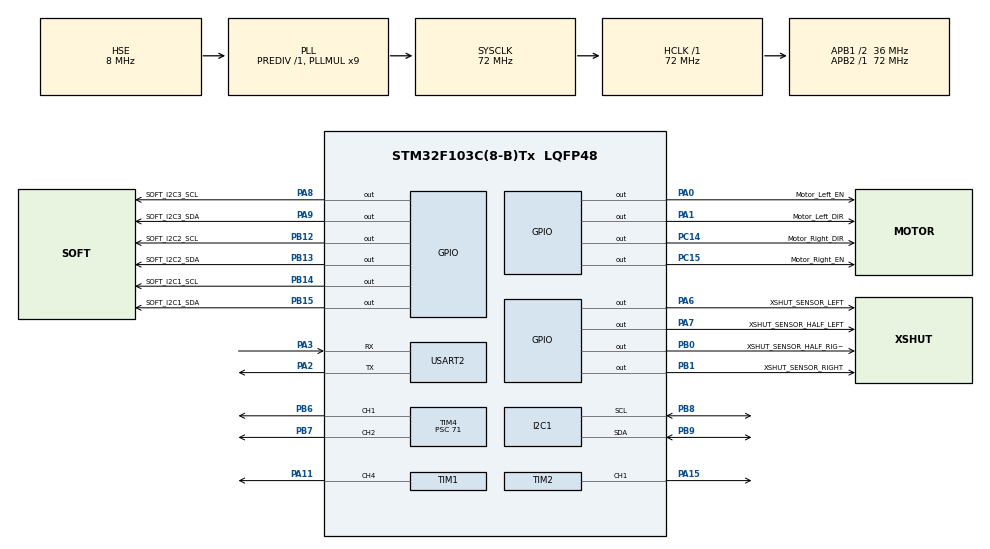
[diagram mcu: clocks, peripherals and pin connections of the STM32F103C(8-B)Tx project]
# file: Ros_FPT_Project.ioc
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Dma.Request0=USART2_TX
Dma.USART2_TX.0.Direction=DMA_MEMORY_TO_PERIPH
Dma.USART2_TX.0.Instance=DMA1_Channel7
Dma.USART2_TX.0.MemDataAlignment=DMA_MDATAALIGN_BYTE
Dma.USART2_TX.0.MemInc=DMA_MINC_ENABLE
Dma.USART2_TX.0.Mode=DMA_NORMAL
Dma.USART2_TX.0.PeriphDataAlignment=DMA_PDATAALIGN_BYTE
Dma.USART2_TX.0.PeriphInc=DMA_PINC_DISABLE
Dma.USART2_TX.0.Priority=DMA_PRIORITY_LOW
I2C1.I2C_Mode=I2C_Fast
Mcu.Family=STM32F1
Mcu.Name=STM32F103C(8-B)Tx
Mcu.Package=LQFP48
NVIC.DMA1_Channel7_IRQn=true\:3\:0\:true\:false\:true\:false\:true\:true
NVIC.PriorityGroup=NVIC_PRIORITYGROUP_4
NVIC.TIM3_IRQn=true\:2\:0\:true\:false\:true\:true\:true\:true
NVIC.USART2_IRQn=true\:1\:0\:true\:false\:true\:true\:true\:true
PA0-WKUP.GPIO_Label=Motor_Left_EN
PA0-WKUP.Signal=GPIO_Output
PA1.GPIO_Label=Motor_Left_DIR
PA1.Signal=GPIO_Output
PA11.Signal=S_TIM1_CH4
PA13.Mode=Serial_Wire
PA13.Signal=SYS_JTMS-SWDIO
PA14.Mode=Serial_Wire
PA14.Signal=SYS_JTCK-SWCLK
PA15.Signal=S_TIM2_CH1_ETR
PA2.Mode=Asynchronous
PA2.Signal=USART2_TX
PA3.Mode=Asynchronous
PA3.Signal=USART2_RX
PA6.GPIO_Label=XSHUT_SENSOR_LEFT
PA6.Signal=GPIO_Output
PA7.GPIO_Label=XSHUT_SENSOR_HALF_LEFT
PA7.Signal=GPIO_Output
PA8.GPIO_Label=SOFT_I2C3_SCL
PA8.GPIO_ModeDefaultOutputPP=GPIO_MODE_OUTPUT_OD
PA8.GPIO_PuPd=GPIO_PULLUP
PA8.GPIO_Speed=GPIO_SPEED_FREQ_HIGH
PA8.PinState=GPIO_PIN_RESET
PA8.Signal=GPIO_Output
PA9.GPIO_Label=SOFT_I2C3_SDA
PA9.GPIO_ModeDefaultOutputPP=GPIO_MODE_OUTPUT_OD
PA9.GPIO_PuPd=GPIO_PULLUP
PA9.GPIO_Speed=GPIO_SPEED_FREQ_HIGH
PA9.PinState=GPIO_PIN_RESET
PA9.Signal=GPIO_Output
PB0.GPIO_Label=XSHUT_SENSOR_HALF_RIGHT
PB0.Signal=GPIO_Output
PB1.GPIO_Label=XSHUT_SENSOR_RIGHT
PB1.Signal=GPIO_Output
PB12.GPIO_Label=SOFT_I2C2_SCL
PB12.GPIO_ModeDefaultOutputPP=GPIO_MODE_OUTPUT_OD
PB12.GPIO_PuPd=GPIO_PULLUP
PB12.GPIO_Speed=GPIO_SPEED_FREQ_HIGH
PB12.PinState=GPIO_PIN_SET
PB12.Signal=GPIO_Output
PB13.GPIO_Label=SOFT_I2C2_SDA
PB13.GPIO_ModeDefaultOutputPP=GPIO_MODE_OUTPUT_OD
PB13.GPIO_PuPd=GPIO_PULLUP
PB13.GPIO_Speed=GPIO_SPEED_FREQ_HIGH
PB13.PinState=GPIO_PIN_SET
PB13.Signal=GPIO_Output
PB14.GPIO_Label=SOFT_I2C1_SCL
PB14.GPIO_ModeDefaultOutputPP=GPIO_MODE_OUTPUT_OD
PB14.GPIO_PuPd=GPIO_PULLUP
PB14.GPIO_Speed=GPIO_SPEED_FREQ_HIGH
PB14.PinState=GPIO_PIN_SET
PB14.Signal=GPIO_Output
PB15.GPIO_Label=SOFT_I2C1_SDA
PB15.GPIO_ModeDefaultOutputPP=GPIO_MODE_OUTPUT_OD
PB15.GPIO_PuPd=GPIO_PULLUP
PB15.GPIO_Speed=GPIO_SPEED_FREQ_HIGH
PB15.PinState=GPIO_PIN_SET
PB15.Signal=GPIO_Output
PB6.Signal=S_TIM4_CH1
PB7.Signal=S_TIM4_CH2
PB8.Mode=I2C
PB8.Signal=I2C1_SCL
PB9.Mode=I2C
PB9.Signal=I2C1_SDA
PC14-OSC32_IN.GPIO_Label=Motor_Right_DIR
PC14-OSC32_IN.Signal=GPIO_Output
PC15-OSC32_OUT.GPIO_Label=Motor_Right_EN
PC15-OSC32_OUT.Signal=GPIO_Output
PD0-OSC_IN.Mode=HSE-External-Oscillator
PD0-OSC_IN.Signal=RCC_OSC_IN
PD1-OSC_OUT.Mode=HSE-External-Oscillator
PD1-OSC_OUT.Signal=RCC_OSC_OUT
ProjectManager.HeapSize=0x200
ProjectManager.StackSize=0x400
ProjectManager.TargetToolchain=MDK-ARM V5.32
RCC.AHBFreq_Value=72000000
RCC.APB1CLKDivider=RCC_HCLK_DIV2
RCC.APB1Freq_Value=36000000
RCC.APB1TimFreq_Value=72000000
RCC.APB2Freq_Value=72000000
RCC.APB2TimFreq_Value=72000000
RCC.HCLKFreq_Value=72000000
RCC.PLLMUL=RCC_PLL_MUL9
RCC.PLLSourceVirtual=RCC_PLLSOURCE_HSE
RCC.SYSCLKFreq_VALUE=72000000
RCC.SYSCLKSource=RCC_SYSCLKSOURCE_PLLCLK
RCC.USBFreq_Value=72000000
SH.S_TIM1_CH4.0=TIM1_CH4,PWM Generation4 CH4
SH.S_TIM2_CH1_ETR.0=TIM2_CH1,PWM Generation1 CH1
SH.S_TIM4_CH1.0=TIM4_CH1,PWM Generation1 CH1
SH.S_TIM4_CH2.0=TIM4_CH2,PWM Generation2 CH2
TIM1.AutoReloadPreload=TIM_AUTORELOAD_PRELOAD_ENABLE
TIM1.Channel-PWM\ Generation4\ CH4=TIM_CHANNEL_4
TIM1.Prescaler=71
TIM2.AutoReloadPreload=TIM_AUTORELOAD_PRELOAD_ENABLE
TIM2.Channel-PWM\ Generation1\ CH1=TIM_CHANNEL_1
TIM2.Period=65535
TIM2.Prescaler=71
TIM3.Period=3999
TIM3.Prescaler=719
TIM4.Channel-PWM\ Generation1\ CH1=TIM_CHANNEL_1
TIM4.Channel-PWM\ Generation2\ CH2=TIM_CHANNEL_2
TIM4.Prescaler=71
USART2.VirtualMode=VM_ASYNC
VP_TIM3_VS_ClockSourceINT.Mode=Internal
board=custom

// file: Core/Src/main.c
/* USER CODE BEGIN Header */
/**
  ******************************************************************************
  * @file           : main.c
  * @brief          : Main program body
  ******************************************************************************
  * @attention
  *
  * Copyright (c) 2025 STMicroelectronics.
  * All rights reserved.
  *
  * This software is licensed under terms that can be found in the LICENSE file
  * in the root directory of this software component.
  * If no LICENSE file comes with this software, it is provided AS-IS.
  *
  ******************************************************************************
  */
/* USER CODE END Header */
#include "main.h"

/* USER CODE BEGIN Includes */
#include "vl53l0x.h"
#include "i2c.h"
#include "mpu6050.h"
#include "uart.h"
#include <stdarg.h>
#include <string.h>
#include <stdio.h>
#include <math.h>
/* USER CODE END Includes */

/* USER CODE BEGIN PD */
#define BUFFER_MESSAGE_SIZE 100
/* USER CODE END PD */

I2C_HandleTypeDef hi2c1;

TIM_HandleTypeDef htim1;
TIM_HandleTypeDef htim2;
TIM_HandleTypeDef htim3;
TIM_HandleTypeDef htim4;

UART_HandleTypeDef huart2;
DMA_HandleTypeDef hdma_usart2_tx;

/* USER CODE BEGIN PV */
Robot_Typedef robot;

StepperMotor motor_left;
StepperMotor motor_right;

AS5600_Typedef encoder_left;
AS5600_Typedef encoder_right;

Soft_I2C_TypeDef soft_i2c_distance;
Soft_I2C_TypeDef soft_i2c_encoder_left;
Soft_I2C_TypeDef soft_i2c_encoder_right;

VL53L0X_TypeDef sensor_left;
VL53L0X_TypeDef sensor_half_left;
VL53L0X_TypeDef sensor_half_right;
VL53L0X_TypeDef sensor_right;

Servo_TypeDef servo1;
Servo_TypeDef servo2;

MPU6050_t mpu;

/* USER CODE END PV */

void SystemClock_Config(void);
static void MX_GPIO_Init(void);
static void MX_DMA_Init(void);
static void MX_I2C1_Init(void);
static void MX_TIM2_Init(void);
static void MX_TIM3_Init(void);
static void MX_TIM4_Init(void);
static void MX_USART2_UART_Init(void);
static void MX_TIM1_Init(void);

/* USER CODE BEGIN 0 */
uint8_t data_rx;
uint8_t flag_error;
char buffer[BUFFER_MESSAGE_SIZE];
static uint8_t idx = 0;

HAL_StatusTypeDef transmit(const char *format, ...)
{
	va_list args;
	va_start(args, format);
	vsnprintf(buffer, BUFFER_MESSAGE_SIZE, format, args);
	va_end(args);
	return HAL_UART_Transmit_DMA(&huart2, (uint8_t *)buffer, strlen(buffer));
}

void HAL_UART_RxCpltCallback(UART_HandleTypeDef* huart){
	if(huart->Instance == huart2.Instance){
		uart_receive_data(data_rx);
		uart_handle(&robot);
		HAL_UART_Receive_IT(huart, &data_rx, 1);
	}
}

void HAL_TIM_PeriodElapsedCallback(TIM_HandleTypeDef* htim){
	if(htim->Instance == htim3.Instance){
		if(MPU6050_Read_All_Fast(&mpu) != MPU6050_OK){
			flag_error = 10;
			transmit("Get data from MPU6050 error!\n");
		}
		Calculate_Velocity(&robot);
		transmit("%.3f %.3f %.3f %.3f %.3f %.3f %.3f %.3f %.3f %.3f %.3f %.3f\n", robot.v_left, robot.v_right, mpu.Ax, mpu.Ay, mpu.Az, mpu.Gx, mpu.Gy, mpu.Gz,
		sensor_left.distance_m, sensor_half_left.distance_m, sensor_half_right.distance_m, sensor_right.distance_m);
	}
}

/* USER CODE END 0 */

int main(void)
{

  /* MCU Configuration--------------------------------------------------------*/

  /* Reset of all peripherals, Initializes the Flash interface and the Systick. */
  HAL_Init();

  /* Configure the system clock */
  SystemClock_Config();

  /* Initialize all configured peripherals */
  MX_GPIO_Init();
  MX_DMA_Init();
  MX_I2C1_Init();
  MX_TIM2_Init();
  MX_TIM3_Init();
  MX_TIM4_Init();
  MX_USART2_UART_Init();
  MX_TIM1_Init();
  /* USER CODE BEGIN 2 */

	// Init MPU6050
	while(MPU6050_Init(&mpu, &hi2c1) != MPU6050_OK){
		flag_error = 1;
		transmit("MPU6050 Init Fail\n");
		HAL_Delay(1000);
	}
	flag_error = 0;
	if(MPU6050_Read_All_Fast(&mpu) != MPU6050_OK){
		flag_error = 2;
		transmit("MPU6050 Get Data Error\n");
		Error_Handler();
	}
	// Init I2C Soft
	i2c_soft_init(&soft_i2c_distance, SOFT_I2C1_SCL_GPIO_Port, SOFT_I2C1_SCL_Pin, SOFT_I2C1_SDA_GPIO_Port, SOFT_I2C1_SDA_Pin);
	i2c_soft_init(&soft_i2c_encoder_left, SOFT_I2C2_SCL_GPIO_Port, SOFT_I2C2_SCL_Pin, SOFT_I2C2_SDA_GPIO_Port, SOFT_I2C2_SDA_Pin);
	i2c_soft_init(&soft_i2c_encoder_right, SOFT_I2C3_SCL_GPIO_Port, SOFT_I2C3_SCL_Pin, SOFT_I2C3_SDA_GPIO_Port, SOFT_I2C3_SDA_Pin);

	// Init Distance Sensor VL53L0X
	if(!vl53l0x_init(&sensor_left, &soft_i2c_distance, XSHUT_SENSOR_LEFT_GPIO_Port, XSHUT_SENSOR_LEFT_Pin, LEFT, -30)){
		flag_error = 3;
		transmit("Distance Sensor Front Init Fail!\n");
		Error_Handler();
	}
	if(!vl53l0x_init(&sensor_half_left, &soft_i2c_distance, XSHUT_SENSOR_HALF_LEFT_GPIO_Port, XSHUT_SENSOR_HALF_LEFT_Pin, HALF_LEFT, 0)){
		flag_error = 4;
		transmit("Distance Sensor Behind Init Fail!\n");
		Error_Handler();
	}
	if(!vl53l0x_init(&sensor_half_right, &soft_i2c_distance, XSHUT_SENSOR_HALF_RIGHT_GPIO_Port, XSHUT_SENSOR_HALF_RIGHT_Pin, HALF_RIGHT, -20)){
		flag_error = 5;
		transmit("Distance Sensor Left Init Fail!\n");
		Error_Handler();
	}
	if(!vl53l0x_init(&sensor_right, &soft_i2c_distance, XSHUT_SENSOR_RIGHT_GPIO_Port, XSHUT_SENSOR_RIGHT_Pin, RIGHT, -15)){
		flag_error = 6;
		transmit("Distance Sensor Right Init Fail!\n");
		Error_Handler();
	}
	// Init Servo
	Servo_Init(&servo1, &htim4, TIM_CHANNEL_1);
	Servo_Init(&servo2, &htim4, TIM_CHANNEL_2);
	Servo_Set(&servo1, 180);
	// Init Encoder
	while(AS5600_Init(&encoder_left, &soft_i2c_encoder_left, AS5600_I2C_SLAVE_ADDRESS)  != AS5600_OK){
		flag_error = 7;
		transmit("Encoder Left Init Fail\n");
	}
	while(AS5600_Init(&encoder_right, &soft_i2c_encoder_right, AS5600_I2C_SLAVE_ADDRESS) != AS5600_OK){
		flag_error = 8;
		transmit("Encoder Right Init Fail\n");
	}

	// Init Step Motor
	Stepper_Init(&motor_left, &htim1, TIM_CHANNEL_4, &encoder_left, Motor_Left_DIR_GPIO_Port, Motor_Left_DIR_Pin, Motor_Left_EN_GPIO_Port, Motor_Left_EN_Pin);
	Stepper_Init(&motor_right, &htim2, TIM_CHANNEL_1, &encoder_right, Motor_Right_DIR_GPIO_Port, Motor_Right_DIR_Pin, Motor_Right_EN_GPIO_Port, Motor_Right_EN_Pin);

	// Init Robot
	robot_init(&robot, &servo1, &servo2, &motor_left, &motor_right);

	// Init Periph System
	HAL_TIM_Base_Start_IT(&htim3);
	HAL_UART_Receive_IT(&huart2, &data_rx, 1);

  /* USER CODE END 2 */

  /* Infinite loop */
  /* USER CODE BEGIN WHILE */
  while (1){
		Control_Servo(&robot);
		if(!vl53l0x_read_all_sensor()){
			if(list_distance_sensor[idx] != NULL){
				switch(list_distance_sensor[idx]->position){
					case LEFT:
						transmit("Distance Sensor Left Error\n");
						break;
					case RIGHT:
						transmit("Distance Sensor Right rror\n");
						break;
					case HALF_LEFT:
						transmit("Distance Sensor Half Left Error\n");
						break;
					case HALF_RIGHT:
						transmit("Distance Sensor Half RightError\n");
						break;
				}
				idx = (idx + 1) % NUMS_SENSOR;
			}
		}

    /* USER CODE END WHILE */

  }
}

void SystemClock_Config(void)
{
  RCC_OscInitTypeDef RCC_OscInitStruct = {0};
  RCC_ClkInitTypeDef RCC_ClkInitStruct = {0};

  /** Initializes the RCC Oscillators according to the specified parameters
  * in the RCC_OscInitTypeDef structure.
  */
  RCC_OscInitStruct.OscillatorType = RCC_OSCILLATORTYPE_HSE;
  RCC_OscInitStruct.HSEState = RCC_HSE_ON;
  RCC_OscInitStruct.HSEPredivValue = RCC_HSE_PREDIV_DIV1;
  RCC_OscInitStruct.HSIState = RCC_HSI_ON;
  RCC_OscInitStruct.PLL.PLLState = RCC_PLL_ON;
  RCC_OscInitStruct.PLL.PLLSource = RCC_PLLSOURCE_HSE;
  RCC_OscInitStruct.PLL.PLLMUL = RCC_PLL_MUL9;
  if (HAL_RCC_OscConfig(&RCC_OscInitStruct) != HAL_OK)
  {
    Error_Handler();
  }

  /** Initializes the CPU, AHB and APB buses clocks
  */
  RCC_ClkInitStruct.ClockType = RCC_CLOCKTYPE_HCLK|RCC_CLOCKTYPE_SYSCLK
                              |RCC_CLOCKTYPE_PCLK1|RCC_CLOCKTYPE_PCLK2;
  RCC_ClkInitStruct.SYSCLKSource = RCC_SYSCLKSOURCE_PLLCLK;
  RCC_ClkInitStruct.AHBCLKDivider = RCC_SYSCLK_DIV1;
  RCC_ClkInitStruct.APB1CLKDivider = RCC_HCLK_DIV2;
  RCC_ClkInitStruct.APB2CLKDivider = RCC_HCLK_DIV1;

  if (HAL_RCC_ClockConfig(&RCC_ClkInitStruct, FLASH_LATENCY_2) != HAL_OK)
  {
    Error_Handler();
  }
}

static void MX_I2C1_Init(void)
{

  hi2c1.Instance = I2C1;
  hi2c1.Init.ClockSpeed = 400000;
  hi2c1.Init.DutyCycle = I2C_DUTYCYCLE_2;
  hi2c1.Init.OwnAddress1 = 0;
  hi2c1.Init.AddressingMode = I2C_ADDRESSINGMODE_7BIT;
  hi2c1.Init.DualAddressMode = I2C_DUALADDRESS_DISABLE;
  hi2c1.Init.OwnAddress2 = 0;
  hi2c1.Init.GeneralCallMode = I2C_GENERALCALL_DISABLE;
  hi2c1.Init.NoStretchMode = I2C_NOSTRETCH_DISABLE;
  if (HAL_I2C_Init(&hi2c1) != HAL_OK)
  {
    Error_Handler();
  }

}

static void MX_TIM1_Init(void)
{

  TIM_MasterConfigTypeDef sMasterConfig = {0};
  TIM_OC_InitTypeDef sConfigOC = {0};
  TIM_BreakDeadTimeConfigTypeDef sBreakDeadTimeConfig = {0};

  htim1.Instance = TIM1;
  htim1.Init.Prescaler = 71;
  htim1.Init.CounterMode = TIM_COUNTERMODE_UP;
  htim1.Init.Period = 65535;
  htim1.Init.ClockDivision = TIM_CLOCKDIVISION_DIV1;
  htim1.Init.RepetitionCounter = 0;
  htim1.Init.AutoReloadPreload = TIM_AUTORELOAD_PRELOAD_ENABLE;
  if (HAL_TIM_PWM_Init(&htim1) != HAL_OK)
  {
    Error_Handler();
  }
  sMasterConfig.MasterOutputTrigger = TIM_TRGO_RESET;
  sMasterConfig.MasterSlaveMode = TIM_MASTERSLAVEMODE_DISABLE;
  if (HAL_TIMEx_MasterConfigSynchronization(&htim1, &sMasterConfig) != HAL_OK)
  {
    Error_Handler();
  }
  sConfigOC.OCMode = TIM_OCMODE_PWM1;
  sConfigOC.Pulse = 0;
  sConfigOC.OCPolarity = TIM_OCPOLARITY_HIGH;
  sConfigOC.OCFastMode = TIM_OCFAST_DISABLE;
  sConfigOC.OCIdleState = TIM_OCIDLESTATE_RESET;
  sConfigOC.OCNIdleState = TIM_OCNIDLESTATE_RESET;
  if (HAL_TIM_PWM_ConfigChannel(&htim1, &sConfigOC, TIM_CHANNEL_4) != HAL_OK)
  {
    Error_Handler();
  }
  sBreakDeadTimeConfig.OffStateRunMode = TIM_OSSR_DISABLE;
  sBreakDeadTimeConfig.OffStateIDLEMode = TIM_OSSI_DISABLE;
  sBreakDeadTimeConfig.LockLevel = TIM_LOCKLEVEL_OFF;
  sBreakDeadTimeConfig.DeadTime = 0;
  sBreakDeadTimeConfig.BreakState = TIM_BREAK_DISABLE;
  sBreakDeadTimeConfig.BreakPolarity = TIM_BREAKPOLARITY_HIGH;
  sBreakDeadTimeConfig.AutomaticOutput = TIM_AUTOMATICOUTPUT_DISABLE;
  if (HAL_TIMEx_ConfigBreakDeadTime(&htim1, &sBreakDeadTimeConfig) != HAL_OK)
  {
    Error_Handler();
  }
  HAL_TIM_MspPostInit(&htim1);

}

static void MX_TIM2_Init(void)
{

  TIM_MasterConfigTypeDef sMasterConfig = {0};
  TIM_OC_InitTypeDef sConfigOC = {0};

  htim2.Instance = TIM2;
  htim2.Init.Prescaler = 71;
  htim2.Init.CounterMode = TIM_COUNTERMODE_UP;
  htim2.Init.Period = 65535;
  htim2.Init.ClockDivision = TIM_CLOCKDIVISION_DIV1;
  htim2.Init.AutoReloadPreload = TIM_AUTORELOAD_PRELOAD_ENABLE;
  if (HAL_TIM_PWM_Init(&htim2) != HAL_OK)
  {
    Error_Handler();
  }
  sMasterConfig.MasterOutputTrigger = TIM_TRGO_RESET;
  sMasterConfig.MasterSlaveMode = TIM_MASTERSLAVEMODE_DISABLE;
  if (HAL_TIMEx_MasterConfigSynchronization(&htim2, &sMasterConfig) != HAL_OK)
  {
    Error_Handler();
  }
  sConfigOC.OCMode = TIM_OCMODE_PWM1;
  sConfigOC.Pulse = 0;
  sConfigOC.OCPolarity = TIM_OCPOLARITY_HIGH;
  sConfigOC.OCFastMode = TIM_OCFAST_DISABLE;
  if (HAL_TIM_PWM_ConfigChannel(&htim2, &sConfigOC, TIM_CHANNEL_1) != HAL_OK)
  {
    Error_Handler();
  }
  HAL_TIM_MspPostInit(&htim2);

}

static void MX_TIM3_Init(void)
{

  TIM_ClockConfigTypeDef sClockSourceConfig = {0};
  TIM_MasterConfigTypeDef sMasterConfig = {0};

  htim3.Instance = TIM3;
  htim3.Init.Prescaler = 719;
  htim3.Init.CounterMode = TIM_COUNTERMODE_UP;
  htim3.Init.Period = 3999;
  htim3.Init.ClockDivision = TIM_CLOCKDIVISION_DIV1;
  htim3.Init.AutoReloadPreload = TIM_AUTORELOAD_PRELOAD_DISABLE;
  if (HAL_TIM_Base_Init(&htim3) != HAL_OK)
  {
    Error_Handler();
  }
  sClockSourceConfig.ClockSource = TIM_CLOCKSOURCE_INTERNAL;
  if (HAL_TIM_ConfigClockSource(&htim3, &sClockSourceConfig) != HAL_OK)
  {
    Error_Handler();
  }
  sMasterConfig.MasterOutputTrigger = TIM_TRGO_RESET;
  sMasterConfig.MasterSlaveMode = TIM_MASTERSLAVEMODE_DISABLE;
  if (HAL_TIMEx_MasterConfigSynchronization(&htim3, &sMasterConfig) != HAL_OK)
  {
    Error_Handler();
  }

}

static void MX_TIM4_Init(void)
{

  TIM_MasterConfigTypeDef sMasterConfig = {0};
  TIM_OC_InitTypeDef sConfigOC = {0};

  htim4.Instance = TIM4;
  htim4.Init.Prescaler = 71;
  htim4.Init.CounterMode = TIM_COUNTERMODE_UP;
  htim4.Init.Period = 65535;
  htim4.Init.ClockDivision = TIM_CLOCKDIVISION_DIV1;
  htim4.Init.AutoReloadPreload = TIM_AUTORELOAD_PRELOAD_DISABLE;
  if (HAL_TIM_PWM_Init(&htim4) != HAL_OK)
  {
    Error_Handler();
  }
  sMasterConfig.MasterOutputTrigger = TIM_TRGO_RESET;
  sMasterConfig.MasterSlaveMode = TIM_MASTERSLAVEMODE_DISABLE;
  if (HAL_TIMEx_MasterConfigSynchronization(&htim4, &sMasterConfig) != HAL_OK)
  {
    Error_Handler();
  }
  sConfigOC.OCMode = TIM_OCMODE_PWM1;
  sConfigOC.Pulse = 0;
  sConfigOC.OCPolarity = TIM_OCPOLARITY_HIGH;
  sConfigOC.OCFastMode = TIM_OCFAST_DISABLE;
  if (HAL_TIM_PWM_ConfigChannel(&htim4, &sConfigOC, TIM_CHANNEL_1) != HAL_OK)
  {
    Error_Handler();
  }
  if (HAL_TIM_PWM_ConfigChannel(&htim4, &sConfigOC, TIM_CHANNEL_2) != HAL_OK)
  {
    Error_Handler();
  }
  HAL_TIM_MspPostInit(&htim4);

}

static void MX_USART2_UART_Init(void)
{

  huart2.Instance = USART2;
  huart2.Init.BaudRate = 115200;
  huart2.Init.WordLength = UART_WORDLENGTH_8B;
  huart2.Init.StopBits = UART_STOPBITS_1;
  huart2.Init.Parity = UART_PARITY_NONE;
  huart2.Init.Mode = UART_MODE_TX_RX;
  huart2.Init.HwFlowCtl = UART_HWCONTROL_NONE;
  huart2.Init.OverSampling = UART_OVERSAMPLING_16;
  if (HAL_UART_Init(&huart2) != HAL_OK)
  {
    Error_Handler();
  }

}

static void MX_DMA_Init(void)
{

  /* DMA controller clock enable */
  __HAL_RCC_DMA1_CLK_ENABLE();

  /* DMA interrupt init */
  /* DMA1_Channel7_IRQn interrupt configuration */
  HAL_NVIC_SetPriority(DMA1_Channel7_IRQn, 3, 0);
  HAL_NVIC_EnableIRQ(DMA1_Channel7_IRQn);

}

static void MX_GPIO_Init(void)
{
  GPIO_InitTypeDef GPIO_InitStruct = {0};

  /* GPIO Ports Clock Enable */
  __HAL_RCC_GPIOC_CLK_ENABLE();
  __HAL_RCC_GPIOD_CLK_ENABLE();
  __HAL_RCC_GPIOA_CLK_ENABLE();
  __HAL_RCC_GPIOB_CLK_ENABLE();

  /*Configure GPIO pin Output Level */
  HAL_GPIO_WritePin(GPIOC, Motor_Right_DIR_Pin|Motor_Right_EN_Pin, GPIO_PIN_RESET);

  /*Configure GPIO pin Output Level */
  HAL_GPIO_WritePin(GPIOA, Motor_Left_EN_Pin|Motor_Left_DIR_Pin|XSHUT_SENSOR_LEFT_Pin|XSHUT_SENSOR_HALF_LEFT_Pin
                          |SOFT_I2C3_SCL_Pin|SOFT_I2C3_SDA_Pin, GPIO_PIN_RESET);

  /*Configure GPIO pin Output Level */
  HAL_GPIO_WritePin(GPIOB, XSHUT_SENSOR_HALF_RIGHT_Pin|XSHUT_SENSOR_RIGHT_Pin, GPIO_PIN_RESET);

  /*Configure GPIO pin Output Level */
  HAL_GPIO_WritePin(GPIOB, SOFT_I2C2_SCL_Pin|SOFT_I2C2_SDA_Pin|SOFT_I2C1_SCL_Pin|SOFT_I2C1_SDA_Pin, GPIO_PIN_SET);

  /*Configure GPIO pins : Motor_Right_DIR_Pin Motor_Right_EN_Pin */
  GPIO_InitStruct.Pin = Motor_Right_DIR_Pin|Motor_Right_EN_Pin;
  GPIO_InitStruct.Mode = GPIO_MODE_OUTPUT_PP;
  GPIO_InitStruct.Pull = GPIO_NOPULL;
  GPIO_InitStruct.Speed = GPIO_SPEED_FREQ_LOW;
  HAL_GPIO_Init(GPIOC, &GPIO_InitStruct);

  /*Configure GPIO pins : Motor_Left_EN_Pin Motor_Left_DIR_Pin XSHUT_SENSOR_LEFT_Pin XSHUT_SENSOR_HALF_LEFT_Pin */
  GPIO_InitStruct.Pin = Motor_Left_EN_Pin|Motor_Left_DIR_Pin|XSHUT_SENSOR_LEFT_Pin|XSHUT_SENSOR_HALF_LEFT_Pin;
  GPIO_InitStruct.Mode = GPIO_MODE_OUTPUT_PP;
  GPIO_InitStruct.Pull = GPIO_NOPULL;
  GPIO_InitStruct.Speed = GPIO_SPEED_FREQ_LOW;
  HAL_GPIO_Init(GPIOA, &GPIO_InitStruct);

  /*Configure GPIO pins : XSHUT_SENSOR_HALF_RIGHT_Pin XSHUT_SENSOR_RIGHT_Pin */
  GPIO_InitStruct.Pin = XSHUT_SENSOR_HALF_RIGHT_Pin|XSHUT_SENSOR_RIGHT_Pin;
  GPIO_InitStruct.Mode = GPIO_MODE_OUTPUT_PP;
  GPIO_InitStruct.Pull = GPIO_NOPULL;
  GPIO_InitStruct.Speed = GPIO_SPEED_FREQ_LOW;
  HAL_GPIO_Init(GPIOB, &GPIO_InitStruct);

  /*Configure GPIO pins : SOFT_I2C2_SCL_Pin SOFT_I2C2_SDA_Pin SOFT_I2C1_SCL_Pin SOFT_I2C1_SDA_Pin */
  GPIO_InitStruct.Pin = SOFT_I2C2_SCL_Pin|SOFT_I2C2_SDA_Pin|SOFT_I2C1_SCL_Pin|SOFT_I2C1_SDA_Pin;
  GPIO_InitStruct.Mode = GPIO_MODE_OUTPUT_OD;
  GPIO_InitStruct.Pull = GPIO_PULLUP;
  GPIO_InitStruct.Speed = GPIO_SPEED_FREQ_HIGH;
  HAL_GPIO_Init(GPIOB, &GPIO_InitStruct);

  /*Configure GPIO pins : SOFT_I2C3_SCL_Pin SOFT_I2C3_SDA_Pin */
  GPIO_InitStruct.Pin = SOFT_I2C3_SCL_Pin|SOFT_I2C3_SDA_Pin;
  GPIO_InitStruct.Mode = GPIO_MODE_OUTPUT_OD;
  GPIO_InitStruct.Pull = GPIO_PULLUP;
  GPIO_InitStruct.Speed = GPIO_SPEED_FREQ_HIGH;
  HAL_GPIO_Init(GPIOA, &GPIO_InitStruct);

}

void Error_Handler(void)
{
  __disable_irq();
  while (1)
  {
  }
}
